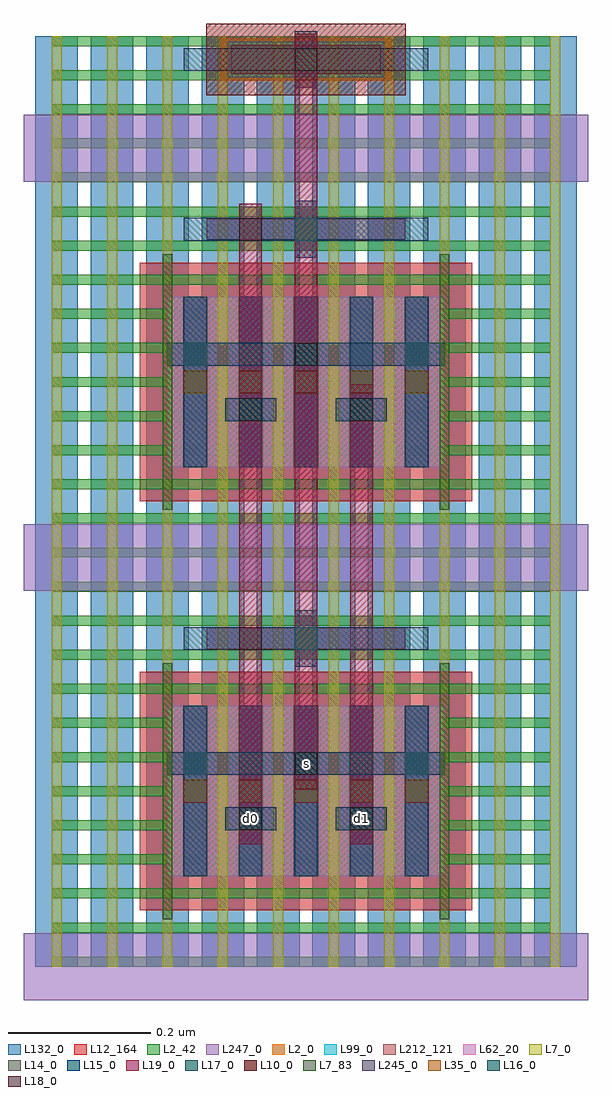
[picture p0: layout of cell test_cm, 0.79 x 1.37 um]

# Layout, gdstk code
import gdstk
lib = gdstk.Library(unit=1e-6, precision=1e-12)
def R(c, l, rs):  # rectangles x0, y0, x1, y1
    for r in rs: c.add(gdstk.rectangle(r[:2], r[2:], *l))
def A(c, l, x, y, w, h, nx, ny, dx, dy):  # array of equal rectangles
    R(c, l, [(x+i*dx, y+j*dy, x+i*dx+w, y+j*dy+h) for i in range(nx) for j in range(ny)])
L2_0 = (2, 0)
L2_42 = (2, 42)
L7_0 = (7, 0)
L7_83 = (7, 83)
L10_0 = (10, 0)
L12_164 = (12, 164)
L14_0 = (14, 0)
L15_0 = (15, 0)
L16_0 = (16, 0)
L17_0 = (17, 0)
L18_0 = (18, 0)
L19_0 = (19, 0)
L35_0 = (35, 0)
L62_20 = (62, 20)
L99_0 = (99, 0)
L132_0 = (132, 0)
L212_121 = (212, 121)
L245_0 = (245, 0)
L247_0 = (247, 0)

test_cm = lib.new_cell('test_cm')
R(test_cm, L2_0, [(0.186,0.127,0.576,0.367), (0.186,0.703,0.576,0.943), (0.2606,1.247,0.5014,1.307)])
A(test_cm, L2_42, 0.023, 0, 0.702, 0.014, 1, 28, 0, 0.048)
A(test_cm, L7_0, 0.023, 0, 0.014, 1.31, 10, 1, 0.078, 0)
R(test_cm, L7_83, [(0.179,0.067,0.193,0.427), (0.569,0.067,0.583,0.427), (0.179,0.643,0.193,1.003), (0.569,0.643,0.583,1.003)])
R(test_cm, L10_0, [(0.2406,1.227,0.5214,1.327)])
R(test_cm, L12_164, [(0.147,0.079,0.615,0.415), (0.147,0.655,0.615,0.991)])
A(test_cm, L14_0, 0.208, 0.127, 0.034, 0.24, 5, 2, 0.078, 0.576)
R(test_cm, L14_0, [(0.2756,1.257,0.4864,1.297)])
A(test_cm, L15_0, 0.209, 0.127, 0.032, 0.24, 5, 2, 0.078, 0.576)
R(test_cm, L15_0, [(0.365,0.422,0.397,0.502), (0.365,0.998,0.397,1.078), (0.365,1.237,0.397,1.317)])
A(test_cm, L16_0, 0.209, 0.27, 0.032, 0.032, 3, 2, 0.156, 0.576)
R(test_cm, L16_0, [(0.287,0.192,0.319,0.224), (0.443,0.192,0.475,0.224), (0.365,0.446,0.397,0.478), (0.287,0.768,0.319,0.8), (0.443,0.768,0.475,0.8), (0.365,1.022,0.397,1.054), (0.365,1.261,0.397,1.293)])
R(test_cm, L17_0, [(0.267,0.192,0.339,0.224), (0.423,0.192,0.495,0.224), (0.186,0.27,0.576,0.302), (0.209,0.446,0.553,0.478), (0.267,0.768,0.339,0.8), (0.423,0.768,0.495,0.8), (0.186,0.846,0.576,0.878), (0.209,1.022,0.553,1.054), (0.209,1.261,0.553,1.293)])
R(test_cm, L18_0, [(0.287,0.192,0.319,0.224), (0.443,0.192,0.475,0.224), (0.365,0.27,0.397,0.302), (0.287,0.446,0.319,0.478), (0.287,0.768,0.319,0.8), (0.443,0.768,0.475,0.8), (0.365,0.846,0.397,0.878), (0.287,1.022,0.319,1.054), (0.365,1.261,0.397,1.293)])
R(test_cm, L19_0, [(0.287,0.172,0.319,1.074), (0.443,0.172,0.475,0.82), (0.365,0.25,0.397,1.313)])
A(test_cm, L35_0, 0.209, 0.231, 0.032, 0.032, 5, 2, 0.078, 0.576)
R(test_cm, L35_0, [(0.365,0.446,0.397,0.478), (0.365,1.022,0.397,1.054), (0.365,1.261,0.397,1.293)])
R(test_cm, L62_20, [(0.186,0.127,0.576,0.367), (0.186,0.703,0.576,0.943)])
R(test_cm, L99_0, [(0.186,0.127,0.576,0.367), (0.186,0.703,0.576,0.943), (0.2706,1.252,0.4914,1.302)])
A(test_cm, L132_0, 0, 0, 0.06, 1.31, 10, 1, 0.078, 0)
R(test_cm, L212_121, [(0.186,0.127,0.576,0.367), (0.186,0.703,0.576,0.943)])
R(test_cm, L245_0, [(0.241,0.447,0.521,0.477), (0.241,1.023,0.521,1.053)])
A(test_cm, L247_0, -0.016, -0.047, 0.794, 0.094, 1, 3, 0, 0.576)
test_cm.add(gdstk.Label('s', (0.381,0.286), layer=16, texttype=20))
test_cm.add(gdstk.Label('d1', (0.459,0.208), layer=16, texttype=20))
test_cm.add(gdstk.Label('d0', (0.303,0.208), layer=16, texttype=20))

lib.write_gds('test_cm.gds')
